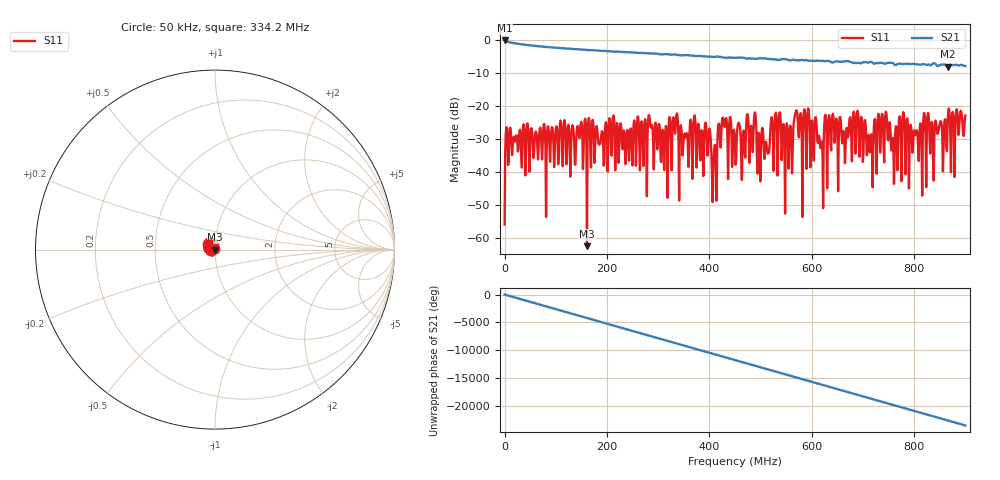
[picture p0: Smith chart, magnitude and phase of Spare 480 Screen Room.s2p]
! NanoVNA-App
! Date: 2026-10-30 14:48:23
! Start: 50kHz Stop: 900MHz Points: 801
! S-Parameter data: F S11 S21 S12 S22
# Hz S RI R 50
!  Frequency  S11_Real  S11_Imag  S21_Real  S21_Imag  S12_Real  S12_Imag  S22_Real  S22_Imag
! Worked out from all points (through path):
!   801 points, 50 kHz to 900 MHz, reference 50 ohm
!   highest |S21| = -0.04 dB at 50 kHz (marker M1); lowest = -8.0 dB at 865.1 MHz (marker M2)
!   lowest |S11| = -62.6 dB at 160.9 MHz (marker M3), VSWR 1.00, Z = 50.1 + j0.000888 ohm
!   |S11| at or under -10 dB: start of sweep to end of sweep
!   S12 and S22 are empty: the file has one direction only
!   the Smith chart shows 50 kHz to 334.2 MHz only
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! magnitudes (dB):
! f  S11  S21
! 50 kHz  -56.0  0.0
! 6.8 MHz  -37.9  -0.5
! 150.8 MHz  -25.7  -2.8
! 160.9 MHz  -62.6  -2.9
! 300.4 MHz  -27.0  -4.1
! 396 MHz  -35.1  -4.9
! 409.5 MHz  -33.0  -5.1
! 428.7 MHz  -26.0  -5.2
! 450 MHz  -30.8  -5.3
! 486 MHz  -27.9  -5.5
! 511.9 MHz  -32.2  -5.6
! 533.3 MHz  -41.1  -5.9
! 551.3 MHz  -25.3  -5.9
! 568.1 MHz  -22.1  -6.0
! 600.8 MHz  -24.4  -6.2
! 715.5 MHz  -28.8  -6.6
! 750.4 MHz  -26.6  -6.9
! 763.9 MHz  -26.2  -7.5
! 775.1 MHz  -42.8  -7.2
! 812.3 MHz  -25.3  -7.4
! 865.1 MHz  -25.7  -8.0
! 900 MHz  -22.9  -7.8
